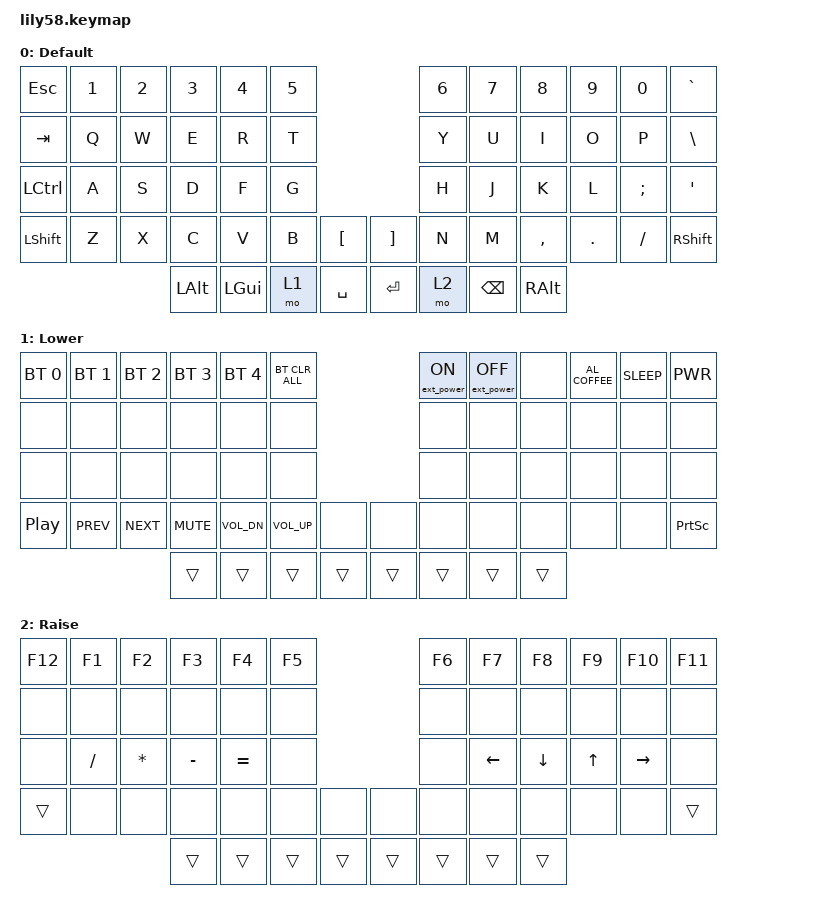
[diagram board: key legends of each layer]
/*
 * Copyright (c) 2020 The ZMK Contributors
 *
 * SPDX-License-Identifier: MIT
 */

#include <behaviors.dtsi>
#include <dt-bindings/zmk/bt.h>
#include <dt-bindings/zmk/ext_power.h>
#include <dt-bindings/zmk/keys.h>

/ {
    keymap {
        compatible = "zmk,keymap";

        Default {
            // ------------------------------------------------------------------------------------------------------------
            // |  ESC  |  1  |  2  |  3   |  4   |  5   |                   |  6   |  7    |  8    |  9   |   0   |   `   |
            // |  TAB  |  Q  |  W  |  E   |  R   |  T   |                   |  Y   |  U    |  I    |  O   |   P   |   -   |
            // |  CTRL |  A  |  S  |  D   |  F   |  G   |                   |  H   |  J    |  K    |  L   |   ;   |   '   |
            // | SHIFT |  Z  |  X  |  C   |  V   |  B   |   "["  |  |  "]"  |  N   |  M    |  ,    |  .   |   /   | SHIFT |
            //                     | ALT  | GUI  | LOWER|  SPACE |  | ENTER | RAISE| BSPC  | GUI   |

            bindings = <
&kp ESC    &kp N1  &kp N2  &kp N3    &kp N4    &kp N5                         &kp N6  &kp N7         &kp N8     &kp N9   &kp N0    &kp GRAVE
&kp TAB    &kp Q   &kp W   &kp E     &kp R     &kp T                          &kp Y   &kp U          &kp I      &kp O    &kp P     &kp BACKSLASH
&kp LCTRL  &kp A   &kp S   &kp D     &kp F     &kp G                          &kp H   &kp J          &kp K      &kp L    &kp SEMI  &kp SQT
&kp LSHFT  &kp Z   &kp X   &kp C     &kp V     &kp B   &kp LBKT     &kp RBKT  &kp N   &kp M          &kp COMMA  &kp DOT  &kp FSLH  &kp RSHFT
                           &kp LALT  &kp LGUI  &mo 1   &kp SPACE    &kp RET   &mo 2   &kp BACKSPACE  &kp RALT
            >;
        };

        Lower {
            bindings = <
&bt BT_SEL 0  &bt BT_SEL 1  &bt BT_SEL 2  &bt BT_SEL 3  &bt BT_SEL 4  &bt BT_CLR_ALL                    &ext_power EP_ON  &ext_power EP_OFF  &none   &kp C_AL_COFFEE  &kp C_SLEEP  &kp C_PWR
&none         &none         &none         &none         &none         &none                             &none             &none              &none   &none            &none        &none
&none         &none         &none         &none         &none         &none                             &none             &none              &none   &none            &none        &none
&kp C_PP      &kp C_PREV    &kp C_NEXT    &kp C_MUTE    &kp C_VOL_DN  &kp C_VOL_UP    &none     &none   &none             &none              &none   &none            &none        &kp PSCRN
                                          &trans        &trans        &trans          &trans    &trans  &trans            &trans             &trans
            >;
        };

        Raise {
            bindings = <
&kp F12  &kp F1     &kp F2     &kp F3     &kp F4     &kp F5                    &kp F6  &kp F7    &kp F8    &kp F9  &kp F10    &kp F11
&none    &none      &none      &none      &none      &none                     &none   &none     &none     &none   &none      &none
&none    &kp SLASH  &kp ASTRK  &kp MINUS  &kp EQUAL  &none                     &none   &kp LEFT  &kp DOWN  &kp UP  &kp RIGHT  &none
&trans   &none      &none      &none      &none      &none   &none     &none   &none   &none     &none     &none   &none      &trans
                               &trans     &trans     &trans  &trans    &trans  &trans  &trans    &trans
            >;
        };
    };
};
